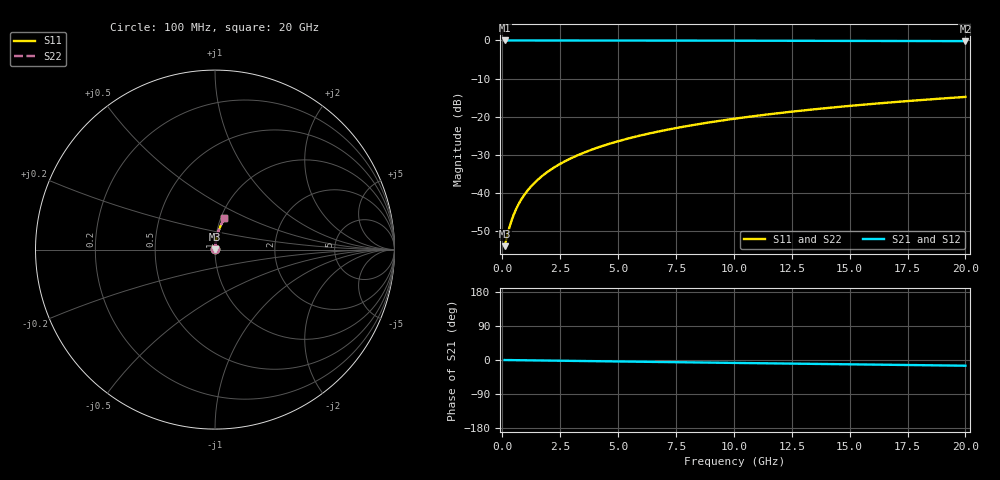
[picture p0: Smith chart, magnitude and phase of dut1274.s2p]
! Touchstone file exported from HFSS 2026.1.0
!  File:  C:/ffzhzh/LocalFiles/Ansys_Project_Files/temp_train_BSMRDL_1274_1783177740_55132.aedt
!  Generated:  11:10:13 PM Jul  4, 2026
!  Design:  BSMRDL
!  Project:  temp_train_BSMRDL_1274_1783177740_55132
! Variables:
!  h_bsmrdl = 3.32um
!  h_ox = 20um
!  h_rdl = 5um
!  h_sub = 80um
!  h_tmrdl = 5um
!  h_tsv = 80um
!  h_via = 3um
!  l_bsmrdl = 167.83um
!  l_sub = 567.83um
!  l_tmrdl = 200um
!  m_sub = 200um
!  pitch = 38.15um
!  r_tsv = 6um
!  s_tmrdl = 10um
!  w_bsmrdl = 11.45um
!  w_sub = 500um
!  w_tmrdl = 12um
!  x_tsv_center1 = 206um
!  x_tsv_center2 = 385.28um
!  x_tsv_center3 = 597.28um
!  x_tsv_center4 = 776.56um
!  x_tsv_center5 = 988.56um
!  x_tsv_center6 = 1167.84um
# GHz S MA R 50.000000
! Terminal data exported
! Port[1] = BSM_RDL1_1_T1
! Port[2] = BSM_RDL1_1_T2
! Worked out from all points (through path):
!   200 points, 100 MHz to 20 GHz, reference 50 ohm
!   highest |S21| = -0.02 dB at 100 MHz (marker M1); lowest = -0.2 dB at 20 GHz (marker M2)
!   group delay of S21, straight-line fit = 2.09 ps
!   lowest |S11| = -54.0 dB at 100 MHz (marker M3), VSWR 1.00, Z = 50.2 + j0.0999 ohm
!   |S11| at or under -10 dB: start of sweep to end of sweep
!   |S22| runs from -54.0 to -14.8 dB; largest |S21 - S12| = 2.6e-15
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0.1  0.001994 29.9  0.9983 -0.1  0.9983 -0.1  0.001994 29.9
! Gamma 0 0 0 0
! Port Impedance 50 0 50 0
0.3  0.003458 58.9  0.9982 -0.2  0.9982 -0.2  0.003458 58.9
0.4  0.004331 65.1  0.9982 -0.3  0.9982 -0.3  0.004331 65.1
0.5  0.00523 69.1  0.9982 -0.4  0.9982 -0.4  0.005231 69.1
0.6  0.006143 71.9  0.9981 -0.5  0.9981 -0.5  0.006143 71.9
0.8  0.00799 75.6  0.9981 -0.6  0.9981 -0.6  0.00799 75.6
1  0.009852 77.9  0.998 -0.8  0.998 -0.8  0.009852 77.9
1.2  0.01172 79.4  0.998 -0.9  0.998 -0.9  0.01172 79.4
1.4  0.0136 80.5  0.9979 -1.1  0.9979 -1.1  0.0136 80.5
1.7  0.01643 81.6  0.9978 -1.3  0.9978 -1.3  0.01643 81.6
2.2  0.02115 82.6  0.9977 -1.7  0.9977 -1.7  0.02115 82.6
2.8  0.02681 83.2  0.9975 -2.2  0.9975 -2.2  0.02681 83.2
3.5  0.03341 83.4  0.9972 -2.7  0.9972 -2.7  0.03341 83.4
4.2  0.04 83.3  0.9968 -3.3  0.9968 -3.3  0.04 83.3
5  0.0475 83.0  0.9963 -3.9  0.9963 -3.9  0.0475 83.0
5.9  0.0559 82.6  0.9957 -4.6  0.9957 -4.6  0.0559 82.6
6.8  0.06426 82.1  0.995 -5.2  0.995 -5.2  0.06426 82.1
8.3  0.07809 81.2  0.9937 -6.4  0.9937 -6.4  0.07809 81.2
10.1  0.0945 80.0  0.9918 -7.7  0.9918 -7.7  0.0945 80.0
13.4  0.1241 77.7  0.9879 -10.2  0.9879 -10.2  0.1241 77.7
16.7  0.153 75.5  0.9832 -12.7  0.9832 -12.7  0.153 75.5
20  0.1813 73.2  0.9779 -15.1  0.9779 -15.1  0.1813 73.2
